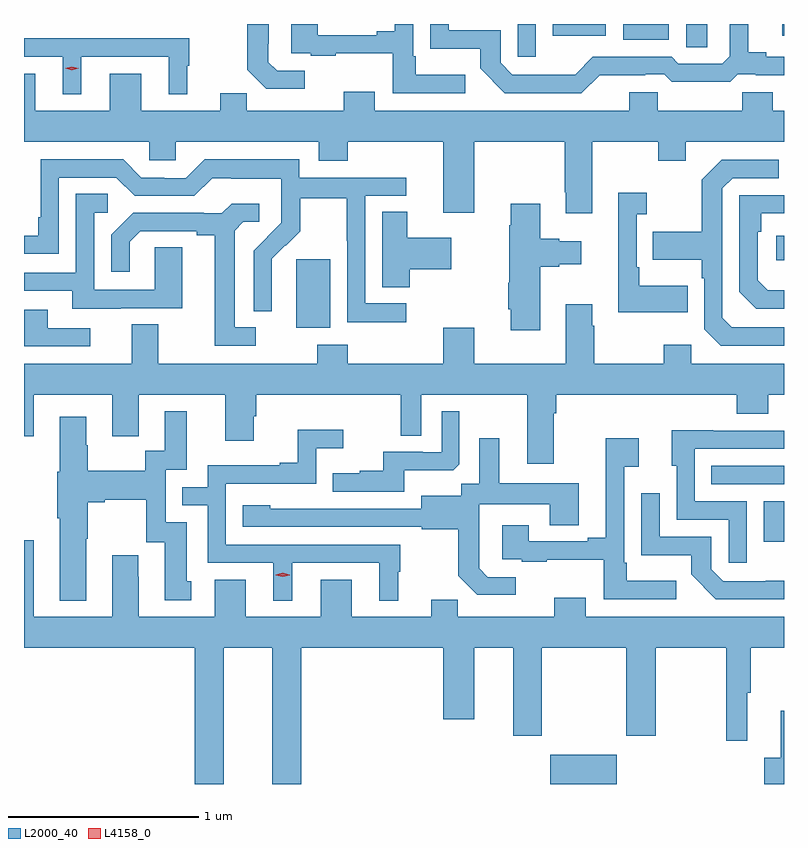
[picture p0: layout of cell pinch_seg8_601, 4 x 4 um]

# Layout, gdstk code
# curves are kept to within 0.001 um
import gdstk
lib = gdstk.Library(unit=1e-6, precision=1e-09)
def R(c, l, rs):  # rectangles x0, y0, x1, y1
    for r in rs: c.add(gdstk.rectangle(r[:2], r[2:], *l))
def P(c, l, *ps):  # polygons
    for p in ps: c.add(gdstk.Polygon(p, *l))
L2000_40 = (2000, 40)
L4158_0 = (4158, 0)

pinch_seg8_601 = lib.new_cell('pinch_seg8_601')
R(pinch_seg8_601, L2000_40, [(225.512,1086.48,225.862,1086.634), (226.634,1087.754,226.741,1087.969), (226.357,1088.058,226.741,1088.154), (224.174,1088.882,224.353,1089.243), (226.701,1089.236,226.741,1089.366), (225.339,1090.308,225.435,1090.48), (226.226,1090.357,226.338,1090.48), (225.896,1090.397,226.135,1090.48), (225.524,1090.418,225.802,1090.48), (226.733,1090.418,226.741,1090.48)])
P(pinch_seg8_601, L2000_40, [(225.77,1090.211),(226.01,1090.211),(226.01,1090.215),(226.11,1090.215),(226.15,1090.176),(226.457,1090.176),(226.497,1090.215),(226.591,1090.215),(226.591,1090.211),(226.741,1090.211),(226.741,1090.308),(226.648,1090.308),(226.648,1090.331),(226.553,1090.331),(226.553,1090.48),(226.455,1090.48),(226.455,1090.311),(226.416,1090.272),(226.185,1090.272),(226.149,1090.308),(225.735,1090.308),(225.641,1090.214),(225.536,1090.214),(225.536,1090.212),(225.312,1090.212),(225.249,1090.275),(225.249,1090.446),(224.976,1090.446),(224.976,1090.48),(224.88,1090.48),(224.88,1090.349),(225.142,1090.349),(225.142,1090.247),(225.272,1090.116),(225.675,1090.116)],
  [(224.218,1090.233),(224.073,1090.233),(224.026,1090.28),(224.026,1090.375),(224.028,1090.375),(224.028,1090.48),(223.917,1090.48),(223.917,1090.239),(224.017,1090.139),(224.218,1090.139)],
  [(225.064,1090.213),(224.803,1090.213),(224.803,1090.309),(224.79,1090.309),(224.79,1090.48),(224.693,1090.48),(224.693,1090.441),(224.597,1090.441),(224.597,1090.422),(224.287,1090.422),(224.287,1090.48),(224.147,1090.48),(224.147,1090.326),(224.251,1090.326),(224.251,1090.314),(224.383,1090.314),(224.383,1090.325),(224.682,1090.325),(224.682,1090.116),(225.064,1090.116)],
  [(223.042,1090.308),(223.502,1090.308),(223.502,1090.109),(223.6,1090.109),(223.6,1090.26),(223.612,1090.26),(223.612,1090.404),(222.741,1090.404),(222.741,1090.308),(222.944,1090.308),(222.944,1090.109),(223.042,1090.109)],
  [(225.733,1089.86),(226.078,1089.86),(226.078,1089.761),(226.225,1089.761),(226.225,1089.86),(226.741,1089.86),(226.741,1090.024),(226.682,1090.024),(226.682,1090.122),(226.522,1090.122),(226.522,1090.024),(226.077,1090.024),(226.077,1090.122),(225.926,1090.122),(225.926,1090.024),(224.587,1090.024),(224.587,1090.123),(224.423,1090.123),(224.423,1090.024),(223.913,1090.024),(223.913,1090.115),(223.775,1090.115),(223.775,1090.024),(223.357,1090.024),(223.357,1090.219),(223.193,1090.219),(223.193,1090.024),(222.799,1090.024),(222.799,1090.219),(222.741,1090.219),(222.741,1089.86),(223.401,1089.86),(223.401,1089.762),(223.539,1089.762),(223.539,1089.86),(224.291,1089.86),(224.291,1089.761),(224.444,1089.761),(224.444,1089.86),(224.948,1089.86),(224.948,1089.486),(225.112,1089.486),(225.112,1089.86),(225.586,1089.86),(225.586,1089.595),(225.593,1089.595),(225.593,1089.483),(225.733,1089.483)],
  [(224.752,1089.009),(224.538,1089.009),(224.538,1089.576),(224.752,1089.576),(224.752,1089.672),(224.19,1089.672),(224.19,1089.769),(223.693,1089.769),(223.593,1089.669),(223.478,1089.669),(223.478,1089.672),(223.359,1089.672),(223.263,1089.768),(222.828,1089.768),(222.828,1089.463),(222.815,1089.463),(222.815,1089.366),(222.741,1089.366),(222.741,1089.27),(222.924,1089.27),(222.924,1089.672),(223.227,1089.672),(223.323,1089.576),(223.638,1089.576),(223.731,1089.669),(223.831,1089.669),(223.831,1089.665),(224.094,1089.665),(224.094,1089.531),(224.096,1089.531),(224.096,1089.434),(223.95,1089.286),(223.95,1088.968),(224.046,1088.968),(224.045,1089.245),(224.115,1089.315),(224.118,1089.312),(224.195,1089.389),(224.195,1089.564),(224.44,1089.564),(224.44,1089.34),(224.442,1089.34),(224.442,1088.911),(224.752,1088.911)],
  [(226.741,1088.883),(226.467,1088.883),(226.416,1088.934),(226.416,1089.615),(226.47,1089.669),(226.714,1089.669),(226.714,1089.765),(226.413,1089.765),(226.308,1089.659),(226.308,1089.387),(226.051,1089.387),(226.051,1089.239),(226.308,1089.239),(226.308,1089.143),(226.32,1089.143),(226.32,1088.874),(226.407,1088.787),(226.741,1088.787)],
  [(226.235,1089.103),(225.979,1089.103),(225.979,1089.199),(225.966,1089.199),(225.966,1089.479),(226.018,1089.479),(226.018,1089.592),(225.869,1089.592),(225.869,1088.963),(226.235,1088.963)],
  [(223.249,1088.985),(223.573,1088.985),(223.573,1089.305),(223.428,1089.305),(223.428,1089.081),(223.11,1089.081),(223.11,1089.486),(223.183,1089.486),(223.183,1089.587),(223.014,1089.587),(223.014,1089.171),(222.741,1089.171),(222.741,1089.075),(222.995,1089.075),(222.995,1088.981),(223.249,1088.981)],
  [(226.741,1089.079),(226.655,1089.079),(226.602,1089.132),(226.602,1089.386),(226.622,1089.386),(226.622,1089.483),(226.741,1089.483),(226.741,1089.579),(226.506,1089.579),(226.506,1089.072),(226.596,1088.982),(226.741,1088.982)],
  [(223.96,1088.883),(223.849,1088.883),(223.849,1089.391),(223.896,1089.438),(223.978,1089.438),(223.978,1089.535),(223.834,1089.535),(223.782,1089.483),(223.688,1089.483),(223.688,1089.486),(223.316,1089.486),(223.2,1089.37),(223.2,1089.177),(223.297,1089.177),(223.297,1089.333),(223.354,1089.39),(223.649,1089.39),(223.649,1089.368),(223.745,1089.368),(223.745,1088.787),(223.96,1088.787)],
  [(225.457,1089.203),(225.557,1089.203),(225.557,1089.215),(225.673,1089.215),(225.673,1089.337),(225.557,1089.337),(225.557,1089.35),(225.457,1089.35),(225.457,1089.535),(225.302,1089.535),(225.302,1089.422),(225.295,1089.422),(225.295,1089.119),(225.29,1089.119),(225.29,1088.98),(225.302,1088.98),(225.302,1088.868),(225.457,1088.868)],
  [(224.771,1089.19),(224.989,1089.19),(224.989,1089.355),(224.758,1089.355),(224.758,1089.491),(224.627,1089.491),(224.627,1089.094),(224.771,1089.094)],
  [(225.529,1088.432),(225.542,1088.432),(225.542,1088.528),(226.493,1088.528),(226.493,1088.429),(226.657,1088.429),(226.657,1088.528),(226.741,1088.528),(226.741,1088.692),(226.254,1088.692),(226.254,1088.791),(226.108,1088.791),(226.108,1088.692),(225.741,1088.692),(225.741,1088.891),(225.733,1088.891),(225.733,1089.004),(225.593,1089.004),(225.593,1088.692),(225.112,1088.692),(225.112,1088.881),(224.948,1088.881),(224.948,1088.692),(224.444,1088.692),(224.444,1088.791),(224.284,1088.791),(224.284,1088.692),(223.447,1088.692),(223.447,1088.9),(223.307,1088.9),(223.307,1088.692),(222.741,1088.692),(222.741,1088.31),(222.793,1088.31),(222.793,1088.528),(223.205,1088.528),(223.205,1088.31),(223.345,1088.31),(223.345,1088.528),(223.799,1088.528),(223.799,1088.286),(223.951,1088.286),(223.951,1088.415),(223.964,1088.415),(223.964,1088.528),(224.724,1088.528),(224.724,1088.314),(224.832,1088.314),(224.832,1088.528),(225.389,1088.528),(225.389,1088.166),(225.529,1088.166)],
  [(223.09,1088.88),(222.865,1088.88),(222.865,1088.976),(222.741,1088.976),(222.741,1088.784),(223.09,1088.784)],
  [(224.743,1088.132),(225.001,1088.132),(225.033,1088.163),(225.033,1088.443),(224.94,1088.443),(224.94,1088.226),(224.84,1088.226),(224.84,1088.229),(224.633,1088.229),(224.633,1088.128),(224.509,1088.128),(224.509,1088.116),(224.365,1088.116),(224.365,1088.019),(224.743,1088.019)],
  [(223.069,1087.771),(223.077,1087.771),(223.077,1087.964),(223.165,1087.964),(223.165,1087.976),(223.385,1087.976),(223.385,1087.752),(223.481,1087.752),(223.481,1087.446),(223.621,1087.446),(223.621,1087.548),(223.597,1087.548),(223.597,1087.857),(223.488,1087.857),(223.488,1088.133),(223.597,1088.133),(223.597,1088.443),(223.481,1088.443),(223.481,1088.234),(223.38,1088.234),(223.38,1088.128),(223.077,1088.128),(223.077,1088.262),(223.069,1088.262),(223.069,1088.413),(222.929,1088.413),(222.929,1088.124),(222.917,1088.124),(222.917,1087.88),(222.929,1087.88),(222.929,1087.445),(223.069,1087.445)],
  [(224.152,1087.644),(224.612,1087.644),(224.612,1087.445),(224.71,1087.445),(224.71,1087.596),(224.722,1087.596),(224.722,1087.74),(223.803,1087.74),(223.803,1088.061),(224.28,1088.061),(224.28,1088.246),(224.422,1088.246),(224.422,1088.345),(224.182,1088.345),(224.182,1088.17),(224.087,1088.17),(224.087,1088.157),(223.707,1088.157),(223.707,1088.043),(223.573,1088.043),(223.573,1087.947),(223.707,1087.947),(223.707,1087.644),(224.054,1087.644),(224.054,1087.445),(224.152,1087.445)],
  [(226.545,1087.968),(226.272,1087.968),(226.272,1088.244),(226.741,1088.244),(226.741,1088.34),(226.369,1088.34),(226.369,1088.342),(226.151,1088.342),(226.151,1088.154),(226.176,1088.154),(226.176,1087.872),(226.449,1087.872),(226.449,1087.644),(226.545,1087.644)],
  [(226.174,1087.549),(225.913,1087.549),(225.913,1087.645),(225.9,1087.645),(225.9,1088.15),(225.976,1088.15),(225.976,1088.299),(225.803,1088.299),(225.803,1087.777),(225.707,1087.777),(225.707,1087.758),(225.397,1087.758),(225.397,1087.843),(225.257,1087.843),(225.257,1087.662),(225.361,1087.662),(225.361,1087.65),(225.493,1087.65),(225.493,1087.661),(225.792,1087.661),(225.792,1087.452),(226.174,1087.452)],
  [(225.328,1087.569),(225.183,1087.569),(225.136,1087.616),(225.136,1087.711),(225.138,1087.711),(225.138,1087.952),(225.509,1087.952),(225.509,1087.843),(225.661,1087.843),(225.661,1088.062),(225.241,1088.062),(225.241,1088.299),(225.137,1088.299),(225.137,1088.06),(225.042,1088.06),(225.042,1087.996),(224.831,1087.996),(224.831,1087.929),(224.037,1087.93),(224.037,1087.948),(223.893,1087.948),(223.893,1087.833),(224.835,1087.833),(224.835,1087.821),(225.027,1087.821),(225.027,1087.575),(225.127,1087.475),(225.328,1087.475)],
  [(226.741,1087.55),(226.646,1087.55),(226.646,1087.548),(226.422,1087.548),(226.359,1087.611),(226.359,1087.782),(226.086,1087.782),(226.086,1088.011),(225.99,1088.011),(225.99,1087.685),(226.252,1087.685),(226.252,1087.583),(226.382,1087.452),(226.741,1087.452)],
  [(224.948,1086.822),(225.112,1086.822),(225.112,1087.196),(225.317,1087.196),(225.317,1086.735),(225.465,1086.735),(225.465,1087.196),(225.91,1087.196),(225.91,1086.735),(226.065,1086.735),(226.065,1087.196),(226.437,1087.196),(226.437,1086.708),(226.547,1086.708),(226.547,1086.96),(226.565,1086.96),(226.565,1087.196),(226.741,1087.196),(226.741,1087.36),(225.697,1087.36),(225.697,1087.459),(225.533,1087.459),(225.533,1087.36),(225.023,1087.36),(225.023,1087.451),(224.885,1087.451),(224.885,1087.36),(224.467,1087.36),(224.467,1087.555),(224.303,1087.555),(224.303,1087.36),(223.909,1087.36),(223.909,1087.555),(223.745,1087.555),(223.745,1087.36),(223.345,1087.36),(223.345,1087.571),(223.342,1087.571),(223.342,1087.684),(223.205,1087.684),(223.205,1087.36),(222.793,1087.36),(222.793,1087.762),(222.741,1087.762),(222.741,1087.196),(223.64,1087.196),(223.64,1086.48),(223.792,1086.48),(223.792,1087.196),(224.048,1087.196),(224.048,1086.48),(224.201,1086.48),(224.201,1087.196),(224.948,1087.196)],
  [(226.741,1086.865),(226.724,1086.865),(226.724,1086.617),(226.638,1086.617),(226.638,1086.48),(226.741,1086.48)])
P(pinch_seg8_601, L4158_0, [(224.103,1087.571),(224.067,1087.58),(224.067,1087.581),(224.067,1087.581),(224.103,1087.591),(224.139,1087.581),(224.139,1087.581),(224.139,1087.58)],
  [(222.993,1090.236),(222.957,1090.246),(222.957,1090.246),(222.957,1090.247),(222.993,1090.256),(223.029,1090.247),(223.029,1090.246),(223.029,1090.246)])

lib.write_gds('pinch_seg8_601.gds')
